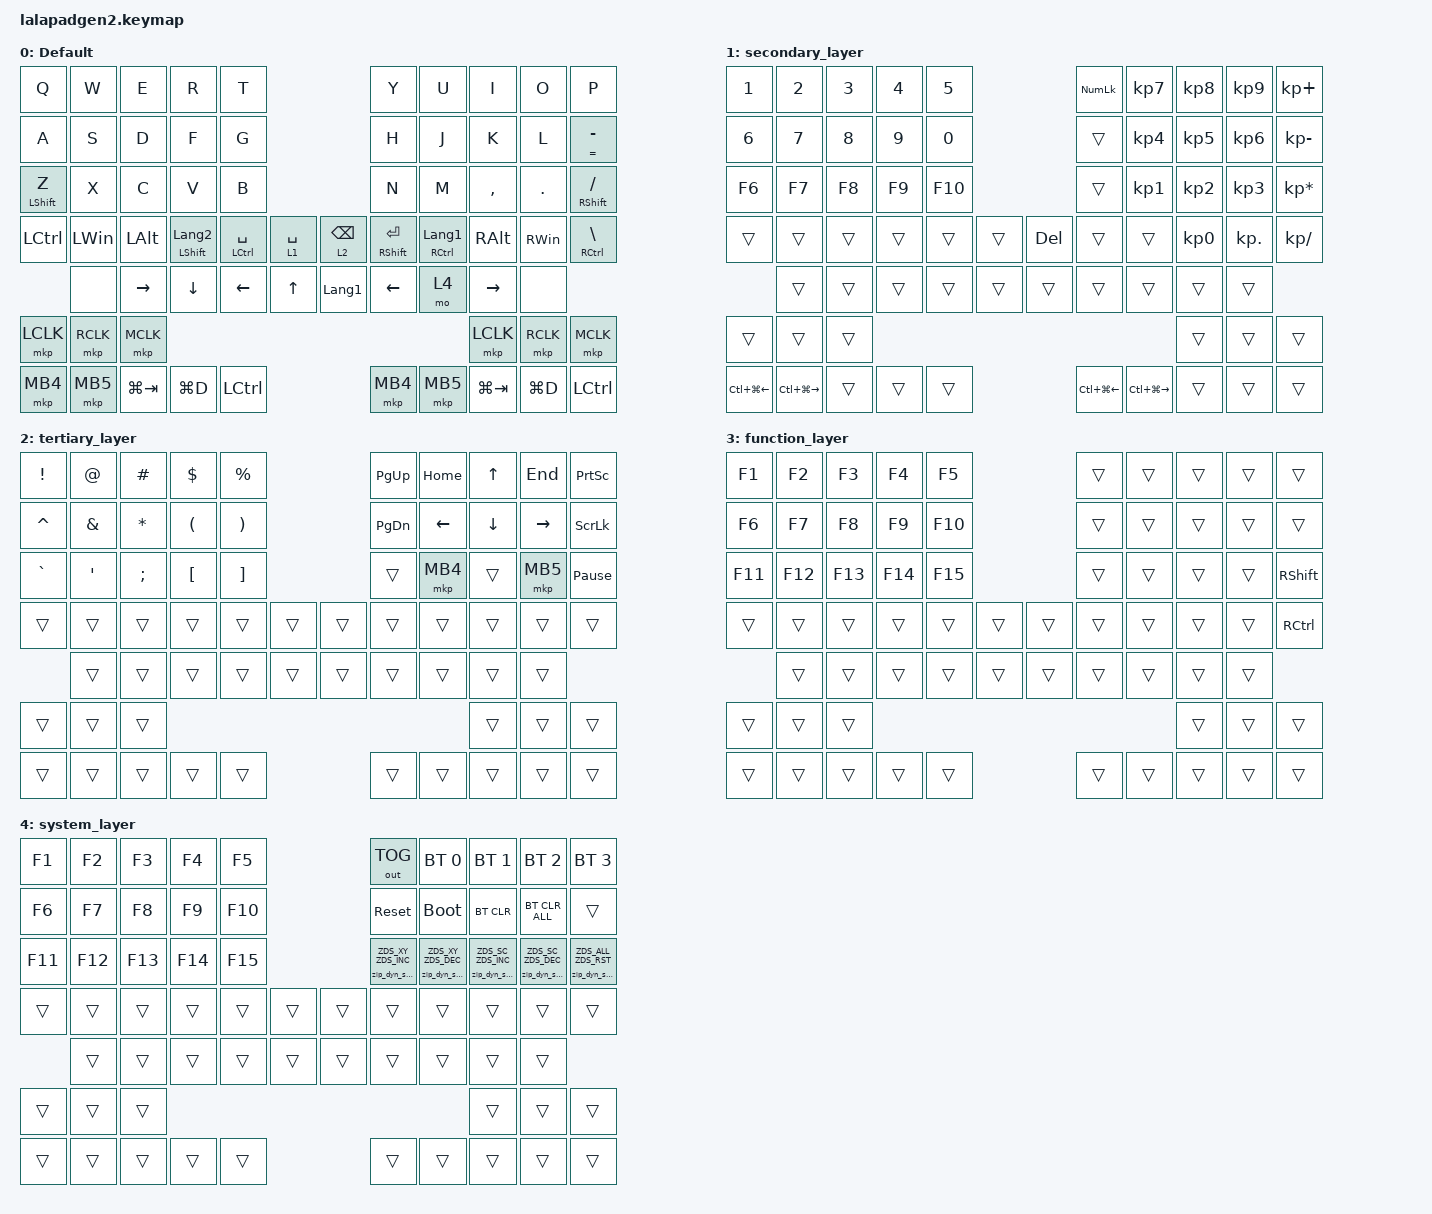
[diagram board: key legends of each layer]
#include <input/processors.dtsi>
#include <dt-bindings/zmk/zip_dynamic_scale.h>
#include <behaviors.dtsi>
#include <dt-bindings/zmk/bt.h>
#include <dt-bindings/zmk/keys.h>
#include <dt-bindings/zmk/outputs.h>
#include <dt-bindings/zmk/pointing.h>

#define DEFAULT_LAYER   0
#define SECONDARY_LAYER 1
#define TERTIARY_LAYER  2
#define SYSTEM_LAYER    3

&mt { quick-tap-ms = <200>; };

&lt { quick-tap-ms = <200>; };

/ {
    behaviors {
        zip_dyn_scale: zip_dyn_scale {
            compatible = "zmk,behavior-zip-dynamic-scale";
            #binding-cells = <2>;
        };

        zip_dyn_scale_set: zip_dyn_scale_set {
            compatible = "zmk,behavior-zip-dynamic-scale-set";
            #binding-cells = <2>;
        };

        mt2: mod_tap2 {
            compatible = "zmk,behavior-hold-tap";
            #binding-cells = <2>;
            flavor = "tap-preferred";
            tapping-term-ms = <200>;
            quick-tap-ms = <200>;
            require-prior-idle-ms = <125>;
            bindings = <&kp>, <&kp>;
        };

        tap_dance_layer_1and2: tap_dance_layer_1and2 {
            compatible = "zmk,behavior-tap-dance";
            label = "td_mo12";
            #binding-cells = <0>;
            bindings = <&mo 1>, <&mo 2>;
        };

        lt2: layer_tap_repeat {
            compatible = "zmk,behavior-hold-tap";
            label = "LAYER_TAP_REPEAT";
            bindings = <&mo>, <&kp>;

            #binding-cells = <2>;
            tapping-term-ms = <200>;
            quick-tap-ms = <175>;
            flavor = "tap-preferred";
        };
    };

    combos {
        compatible = "zmk,combos";

        CONBO_ESC {
            bindings = <&kp ESCAPE>;
            key-positions = <0 1>;
        };

        COMBO_TAB {
            bindings = <&kp TAB>;
            key-positions = <11 12>;
        };
    };

    keymap {
        compatible = "zmk,keymap";

        DEFAULT_LAYER {
            display-name = "Default";
            bindings = <
&kp Q              &kp W      &kp E         &kp R                   &kp T                                             &kp Y              &kp U                  &kp I          &kp O       &kp P
&kp A              &kp S      &kp D         &kp F                   &kp G                                             &kp H              &kp J                  &kp K          &kp L       &mt2 EQUAL MINUS
&mt2 LEFT_SHIFT Z  &kp X      &kp C         &kp V                   &kp B                                             &kp N              &kp M                  &kp COMMA      &kp PERIOD  &mt2 RIGHT_SHIFT SLASH
&kp LCTRL          &kp LWIN   &kp LEFT_ALT  &mt2 LSHIFT LANGUAGE_2  &mt2 LCTRL SPACE  &lt2 1 SPACE  &lt2 2 BACKSPACE  &mt2 RSHIFT ENTER  &mt2 RCTRL LANGUAGE_1  &kp RIGHT_ALT  &kp RWIN    &mt2 RCTRL BACKSLASH
                   &none      &kp RIGHT     &kp DOWN                &kp LEFT          &kp UP        &kp LANGUAGE_1    &kp LEFT           &mo 4                  &kp RIGHT      &none
&mkp LCLK          &mkp RCLK  &mkp MCLK                                                                                                                         &mkp LCLK      &mkp RCLK   &mkp MCLK
&mkp MB4           &mkp MB5   &kp LG(TAB)   &kp LG(D)               &kp LCTRL                                         &mkp MB4           &mkp MB5               &kp LG(TAB)    &kp LG(D)   &kp LCTRL
            >;
        };

        SECONDARY_LAYER {
            display-name = "secondary_layer";
            bindings = <
&kp NUMBER_1      &kp NUMBER_2       &kp NUMBER_3  &kp NUMBER_4  &kp N5                    &kp KP_NUMLOCK    &kp KP_NUMBER_7    &kp KP_NUMBER_8  &kp KP_NUMBER_9  &kp KP_PLUS
&kp NUMBER_6      &kp N7             &kp N8        &kp N9        &kp N0                    &trans            &kp KP_NUMBER_4    &kp KP_NUMBER_5  &kp KP_NUMBER_6  &kp KP_MINUS
&kp F6            &kp F7             &kp F8        &kp F9        &kp F10                   &trans            &kp KP_NUMBER_1    &kp KP_NUMBER_2  &kp KP_NUMBER_3  &kp KP_ASTERISK
&trans            &trans             &trans        &trans        &trans   &trans  &kp DEL  &trans            &trans             &kp KP_NUMBER_0  &kp KP_DOT       &kp KP_DIVIDE
                  &trans             &trans        &trans        &trans   &trans  &trans   &trans            &trans             &trans           &trans
&trans            &trans             &trans                                                                                     &trans           &trans           &trans
&kp LC(LG(LEFT))  &kp LC(LG(RIGHT))  &trans        &trans        &trans                    &kp LC(LG(LEFT))  &kp LC(LG(RIGHT))  &trans           &trans           &trans
            >;
        };

        TERTIARY_LAYER {
            display-name = "tertiary_layer";
            bindings = <
&kp EXCLAMATION  &kp AT_SIGN    &kp HASH      &kp DOLLAR            &kp PERCENT                            &kp PAGE_UP    &kp HOME  &kp UP_ARROW    &kp END    &kp PRINTSCREEN
&kp CARET        &kp AMPERSAND  &kp ASTERISK  &kp LEFT_PARENTHESIS  &kp RIGHT_PARENTHESIS                  &kp PAGE_DOWN  &kp LEFT  &kp DOWN_ARROW  &kp RIGHT  &kp SCROLLLOCK
&kp GRAVE        &kp SQT        &kp SEMI      &kp LEFT_BRACKET      &kp RIGHT_BRACKET                      &trans         &mkp MB4  &trans          &mkp MB5   &kp PAUSE_BREAK
&trans           &trans         &trans        &trans                &trans                 &trans  &trans  &trans         &trans    &trans          &trans     &trans
                 &trans         &trans        &trans                &trans                 &trans  &trans  &trans         &trans    &trans          &trans
&trans           &trans         &trans                                                                                              &trans          &trans     &trans
&trans           &trans         &trans        &trans                &trans                                 &trans         &trans    &trans          &trans     &trans
            >;
        };

        FUNCTION_LAYER {
            display-name = "function_layer";
            bindings = <
&kp F1   &kp F2   &kp F3   &kp F4   &kp F5                   &trans  &trans  &trans  &trans  &trans
&kp F6   &kp F7   &kp F8   &kp F9   &kp F10                  &trans  &trans  &trans  &trans  &trans
&kp F11  &kp F12  &kp F13  &kp F14  &kp F15                  &trans  &trans  &trans  &trans  &kp RIGHT_SHIFT
&trans   &trans   &trans   &trans   &trans   &trans  &trans  &trans  &trans  &trans  &trans  &kp RIGHT_CONTROL
         &trans   &trans   &trans   &trans   &trans  &trans  &trans  &trans  &trans  &trans
&trans   &trans   &trans                                                     &trans  &trans  &trans
&trans   &trans   &trans   &trans   &trans                   &trans  &trans  &trans  &trans  &trans
            >;
        };

        SYSTEM_LAYER {
            display-name = "system_layer";
            bindings = <
&kp F1   &kp F2   &kp F3   &kp F4   &kp F5                   &out OUT_TOG                   &bt BT_SEL 0                   &bt BT_SEL 1                   &bt BT_SEL 2                   &bt BT_SEL 3
&kp F6   &kp F7   &kp F8   &kp F9   &kp F10                  &sys_reset                     &bootloader                    &bt BT_CLR                     &bt BT_CLR_ALL                 &trans
&kp F11  &kp F12  &kp F13  &kp F14  &kp F15                  &zip_dyn_scale ZDS_XY ZDS_INC  &zip_dyn_scale ZDS_XY ZDS_DEC  &zip_dyn_scale ZDS_SC ZDS_INC  &zip_dyn_scale ZDS_SC ZDS_DEC  &zip_dyn_scale ZDS_ALL ZDS_RST
&trans   &trans   &trans   &trans   &trans   &trans  &trans  &trans                         &trans                         &trans                         &trans                         &trans
         &trans   &trans   &trans   &trans   &trans  &trans  &trans                         &trans                         &trans                         &trans
&trans   &trans   &trans                                                                                                   &trans                         &trans                         &trans
&trans   &trans   &trans   &trans   &trans                   &trans                         &trans                         &trans                         &trans                         &trans
            >;
        };
    };

    conditional_layers {
        compatible = "zmk,conditional-layers";

        Cond_Syslayer {
            if-layers = <1 2>;
            then-layer = <3>;
        };
    };
};
